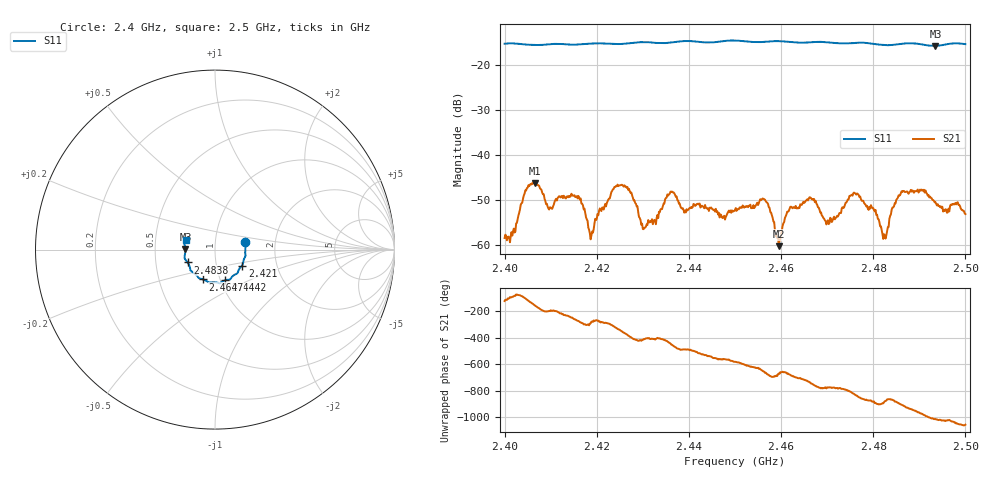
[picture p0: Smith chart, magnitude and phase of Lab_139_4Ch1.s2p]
# Hz S RI R 50
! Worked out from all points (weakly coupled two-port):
!   601 points, 2.4 GHz to 2.5 GHz, reference 50 ohm
!   highest |S21| = -46.22 dB at 2.4065 GHz (marker M1); lowest = -60.3 dB at 2.4595 GHz (marker M2)
!   lowest |S11| = -15.7 dB at 2.4935 GHz (marker M3), VSWR 1.39, Z = 35.9 + j0.197 ohm
!   |S11| at or under -10 dB: start of sweep to end of sweep
!   S12 and S22 are empty: the file has one direction only
!   S11 on the Smith chart (normalised r, x): 2.4 GHz: 1.40, +0.12; 2.421 GHz: 1.33, -0.24; 2.4442 GHz: 1.05, -0.37; 2.4647 GHz: 0.83, -0.28; 2.4838 GHz: 0.73, -0.11; 2.5 GHz: 0.71, +0.08
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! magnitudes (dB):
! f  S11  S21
! 2.4 GHz  -15.2  -58.5
! 2.4065 GHz  -15.5  -46.2
! 2.4167 GHz  -15.3  -50.8
! 2.4187 GHz  -15.1  -58.8
! 2.421 GHz  -15.1  -52.5
! 2.4255 GHz  -15.2  -46.6
! 2.4302 GHz  -14.8  -56.5
! 2.4333 GHz  -15.0  -54.1
! 2.4363 GHz  -14.9  -48.2
! 2.4442 GHz  -14.9  -51.9
! 2.45 GHz  -14.5  -52.4
! 2.4563 GHz  -14.8  -49.8
! 2.4595 GHz  -14.6  -60.3
! 2.4647 GHz  -14.9  -50.8
! 2.4667 GHz  -14.8  -49.9
! 2.47 GHz  -14.9  -54.9
! 2.4763 GHz  -15.0  -48.8
! 2.4833 GHz  -15.5  -56.1
! 2.4838 GHz  -15.5  -53.2
! 2.4867 GHz  -15.1  -48.0
! 2.4935 GHz  -15.7  -50.5
! 2.5 GHz  -15.3  -53.2
